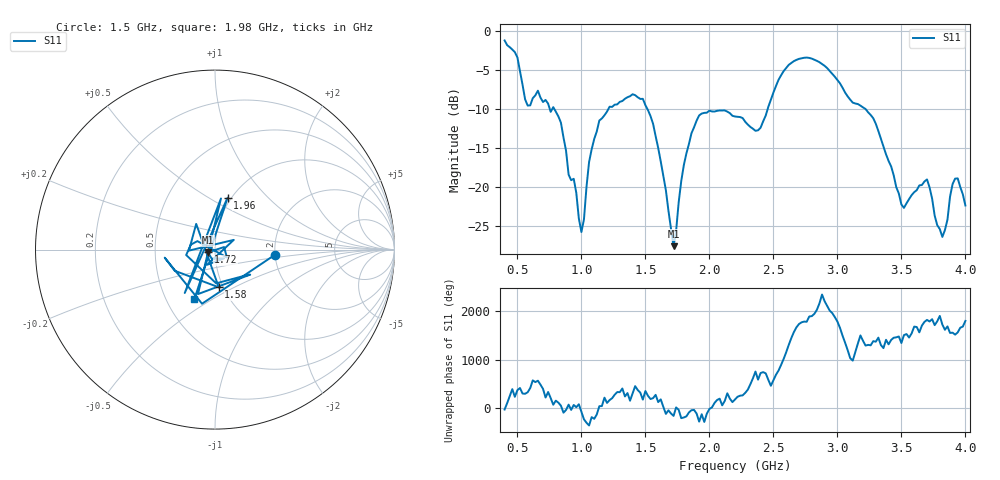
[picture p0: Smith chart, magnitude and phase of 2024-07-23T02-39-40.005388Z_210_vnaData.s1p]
!Created with skrf (http://scikit-rf.org).
# Hz S RI R 50.0
!freq ReS11 ImS11
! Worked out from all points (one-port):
!   181 points, 400 MHz to 4 GHz, reference 50 ohm
!   lowest |S11| = -27.6 dB at 1.72 GHz (marker M1), VSWR 1.09, Z = 46.2 - j1.42 ohm
!   |S11| at or under -10 dB: 787.3 MHz to 1.212 GHz (424.3 MHz wide, 42.5 % of centre); 1.515 GHz to 2.456 GHz (941.3 MHz wide, 47.4 % of centre); 3.217 GHz to end of sweep (the widest 3 of 4)
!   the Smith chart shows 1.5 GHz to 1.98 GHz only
!   S11 on the Smith chart (normalised r, x): 1.5 GHz: 1.99, -0.13; 1.58 GHz: 0.95, -0.42; 1.72 GHz: 0.92, -0.03; 1.96 GHz: 0.96, +0.61; 1.98 GHz: 0.69, -0.42
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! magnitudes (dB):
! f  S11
! 400 MHz  -1.3
! 500 MHz  -3.4
! 580 MHz  -9.6
! 660 MHz  -7.7
! 860 MHz  -13.7
! 1 GHz  -25.8
! 1.06 GHz  -16.8
! 1.14 GHz  -11.5
! 1.3 GHz  -9.1
! 1.5 GHz  -9.5
! 1.58 GHz  -13.5
! 1.72 GHz  -27.6
! 1.76 GHz  -22.0
! 1.86 GHz  -13.1
! 1.96 GHz  -10.5
! 1.98 GHz  -10.5
! 2.2 GHz  -11.0
! 2.38 GHz  -12.8
! 2.66 GHz  -3.9
! 2.86 GHz  -4.0
! 3.1 GHz  -8.8
! 3.28 GHz  -11.2
! 3.5 GHz  -22.2
! 3.56 GHz  -21.6
! 3.7 GHz  -19.0
! 3.82 GHz  -26.4
! 3.92 GHz  -18.9
! 4 GHz  -22.4
